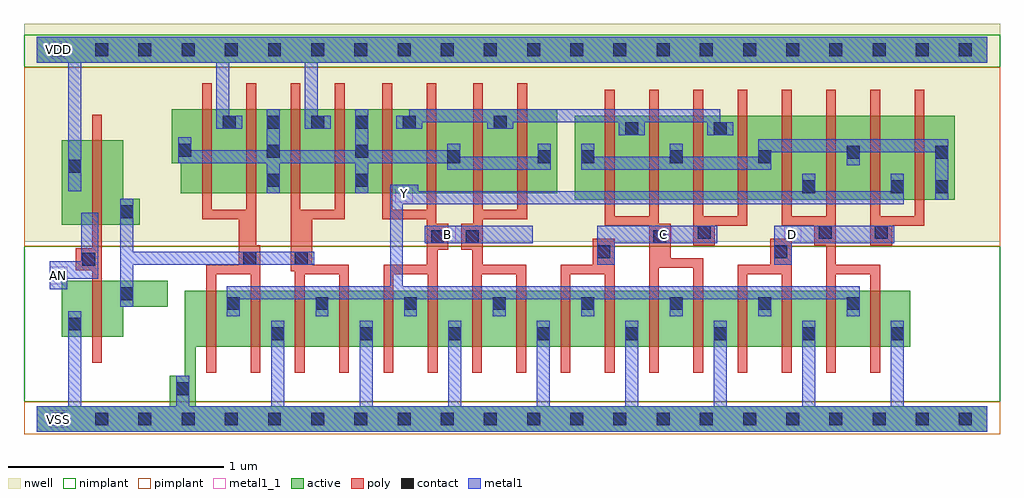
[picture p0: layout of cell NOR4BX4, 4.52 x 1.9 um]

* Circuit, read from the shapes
.subckt NOR4BX4 AN B C D VDD VSS Y
M1 n1 AN VSS VSS nfet w=0.26u l=0.045u
M2 Y n1 VSS VSS nfet w=0.26u l=0.045u m=4
M3 Y B VSS VSS nfet w=0.26u l=0.045u m=4
M4 Y C VSS VSS nfet w=0.26u l=0.045u m=4
M5 Y D VSS VSS nfet w=0.26u l=0.045u m=4
M6 n1 AN VDD VDD pfet w=0.39u l=0.045u
M7 VDD n1 n2 VDD pfet w=0.39u l=0.045u m=4
M8 n3 B n2 VDD pfet w=0.39u l=0.045u m=4
M9 n3 C n4 VDD pfet w=0.39u l=0.045u m=4
M10 Y D n4 VDD pfet w=0.39u l=0.045u m=4
.ends

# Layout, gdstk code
import gdstk
lib = gdstk.Library(unit=1e-6, precision=5e-10)
def R(c, l, rs):  # rectangles x0, y0, x1, y1
    for r in rs: c.add(gdstk.rectangle(r[:2], r[2:], *l))
def A(c, l, x, y, w, h, nx, ny, dx, dy):  # array of equal rectangles
    R(c, l, [(x+i*dx, y+j*dy, x+i*dx+w, y+j*dy+h) for i in range(nx) for j in range(ny)])
def P(c, l, *ps):  # polygons
    for p in ps: c.add(gdstk.Polygon(p, *l))
active = (1, 0)
nwell = (2, 0)
poly = (3, 0)
nimplant = (4, 0)
pimplant = (5, 0)
contact = (6, 0)
metal1 = (7, 0)
metal1_1 = (7, 1)

nor4bx4 = lib.new_cell('NOR4BX4')
R(nor4bx4, active, [(2.49,1.015,4.25,1.405), (0,1.65,4.4,1.77)])
P(nor4bx4, active, [(0.625,1.435),(2.41,1.435),(2.41,1.045),(0.665,1.045),(0.665,1.185),(0.625,1.185)],
  [(0.115,1.29),(0.4,1.29),(0.4,1.02),(0.475,1.02),(0.475,0.9),(0.115,0.9)],
  [(0.115,0.64),(0.605,0.64),(0.605,0.52),(0.4,0.52),(0.4,0.38),(0.115,0.38)],
  [(0.685,0.595),(4.045,0.595),(4.045,0.335),(0.735,0.335),(0.735,0.06),(4.4,0.06),(4.4,-0.06),(0,-0.06),(0,0.06),(0.615,0.06),(0.615,0.2),(0.685,0.2)])
R(nor4bx4, nwell, [(-0.06,0.82,4.46,1.83)])
P(nor4bx4, poly, [(0.765,1.555),(0.81,1.555),(0.81,0.97),(0.97,0.97),(0.97,1.555),(1.015,1.555),(1.015,0.805),(1.035,0.805),(1.035,0.215),(0.99,0.215),(0.99,0.67),(0.83,0.67),(0.83,0.215),(0.785,0.215),(0.785,0.715),(0.935,0.715),(0.935,0.925),(0.765,0.925)],
  [(1.175,1.555),(1.22,1.555),(1.22,0.97),(1.38,0.97),(1.38,1.555),(1.425,1.555),(1.425,0.925),(1.275,0.925),(1.275,0.715),(1.445,0.715),(1.445,0.215),(1.4,0.215),(1.4,0.67),(1.24,0.67),(1.24,0.215),(1.195,0.215),(1.195,0.685),(1.175,0.685)],
  [(1.6,1.555),(1.645,1.555),(1.645,0.97),(1.805,0.97),(1.805,1.555),(1.85,1.555),(1.85,0.905),(1.905,0.905),(1.905,0.785),(1.855,0.785),(1.855,0.215),(1.81,0.215),(1.81,0.67),(1.65,0.67),(1.65,0.215),(1.605,0.215),(1.605,0.715),(1.805,0.715),(1.805,0.925),(1.6,0.925)],
  [(2.02,1.555),(2.065,1.555),(2.065,0.97),(2.225,0.97),(2.225,1.555),(2.27,1.555),(2.27,0.925),(2.065,0.925),(2.065,0.715),(2.265,0.715),(2.265,0.215),(2.22,0.215),(2.22,0.67),(2.06,0.67),(2.06,0.215),(2.015,0.215),(2.015,0.785),(1.965,0.785),(1.965,0.905),(2.02,0.905)],
  [(2.63,1.525),(2.675,1.525),(2.675,0.94),(2.835,0.94),(2.835,1.525),(2.88,1.525),(2.88,0.905),(2.935,0.905),(2.935,0.745),(3.085,0.745),(3.085,0.215),(3.04,0.215),(3.04,0.7),(2.88,0.7),(2.88,0.215),(2.835,0.215),(2.835,0.895),(2.63,0.895)],
  [(3.04,1.525),(3.085,1.525),(3.085,0.94),(3.245,0.94),(3.245,1.525),(3.29,1.525),(3.29,0.895),(3.14,0.895),(3.14,0.805),(3.04,0.805)],
  [(3.45,1.525),(3.495,1.525),(3.495,0.94),(3.655,0.94),(3.655,1.525),(3.7,1.525),(3.7,0.715),(3.905,0.715),(3.905,0.215),(3.86,0.215),(3.86,0.67),(3.7,0.67),(3.7,0.215),(3.655,0.215),(3.655,0.805),(3.6,0.805),(3.6,0.895),(3.45,0.895)],
  [(3.86,1.525),(3.905,1.525),(3.905,0.94),(4.065,0.94),(4.065,1.525),(4.11,1.525),(4.11,0.895),(3.96,0.895),(3.96,0.805),(3.86,0.805)],
  [(0.255,1.41),(0.3,1.41),(0.3,0.26),(0.255,0.26),(0.255,0.69),(0.18,0.69),(0.18,0.79),(0.255,0.79)],
  [(2.575,0.835),(2.675,0.835),(2.675,0.215),(2.63,0.215),(2.63,0.67),(2.47,0.67),(2.47,0.215),(2.425,0.215),(2.425,0.715),(2.575,0.715)],
  [(3.395,0.835),(3.495,0.835),(3.495,0.215),(3.45,0.215),(3.45,0.67),(3.29,0.67),(3.29,0.215),(3.245,0.215),(3.245,0.715),(3.395,0.715)])
R(nor4bx4, nimplant, [(-0.06,0.08,4.46,0.8), (-0.06,1.63,4.46,1.78)])
R(nor4bx4, pimplant, [(-0.06,-0.07,4.46,0.08), (-0.06,0.8,4.46,1.63)])
A(nor4bx4, contact, 0.07, -0.03, 0.06, 0.06, 22, 2, 0.2, 1.71)
A(nor4bx4, contact, 1.085, 0.365, 0.06, 0.06, 8, 1, 0.41, 0)
A(nor4bx4, contact, 0.88, 0.505, 0.06, 0.06, 8, 1, 0.41, 0)
A(nor4bx4, contact, 2.52, 1.185, 0.06, 0.06, 3, 1, 0.41, 0)
A(nor4bx4, contact, 0.86, 1.345, 0.06, 0.06, 4, 1, 0.205, 0)
R(nor4bx4, contact, [(0.645,0.11,0.705,0.17), (0.145,0.41,0.205,0.47), (0.385,0.55,0.445,0.61), (0.21,0.71,0.27,0.77), (0.955,0.715,1.015,0.775), (1.195,0.715,1.255,0.775), (2.595,0.745,2.655,0.805), (3.415,0.745,3.475,0.805), (1.825,0.815,1.885,0.875), (1.985,0.815,2.045,0.875), (2.855,0.815,2.915,0.875), (3.06,0.835,3.12,0.895), (3.62,0.835,3.68,0.895), (3.88,0.835,3.94,0.895), (0.385,0.93,0.445,0.99), (3.545,1.045,3.605,1.105), (3.955,1.045,4.015,1.105), (4.16,1.045,4.22,1.105), (1.065,1.075,1.125,1.135), (1.475,1.075,1.535,1.135), (0.145,1.14,0.205,1.2), (1.9,1.185,1.96,1.245), (2.32,1.185,2.38,1.245), (3.75,1.205,3.81,1.265), (4.16,1.205,4.22,1.265), (1.065,1.21,1.125,1.27), (1.475,1.21,1.535,1.27), (0.655,1.215,0.715,1.275), (2.725,1.315,2.785,1.375), (3.135,1.315,3.195,1.375), (1.695,1.345,1.755,1.405), (2.115,1.345,2.175,1.405)])
R(nor4bx4, metal1, [(1.795,0.815,2.295,0.895)])
P(nor4bx4, metal1, [(0,1.77),(4.4,1.77),(4.4,1.65),(1.3,1.65),(1.3,1.405),(1.36,1.405),(1.36,1.345),(1.24,1.345),(1.24,1.65),(0.89,1.65),(0.89,1.405),(0.95,1.405),(0.95,1.345),(0.83,1.345),(0.83,1.65),(0.205,1.65),(0.205,1.055),(0.145,1.055),(0.145,1.65),(0,1.65)],
  [(0.655,1.305),(0.715,1.305),(0.715,1.245),(1.065,1.245),(1.065,1.435),(1.125,1.435),(1.125,1.245),(1.475,1.245),(1.475,1.435),(1.535,1.435),(1.535,1.245),(1.9,1.245),(1.9,1.275),(1.96,1.275),(1.96,1.215),(2.32,1.215),(2.32,1.275),(2.38,1.275),(2.38,1.155),(1.9,1.155),(1.9,1.185),(1.535,1.185),(1.535,1.045),(1.475,1.045),(1.475,1.185),(1.125,1.185),(1.125,1.045),(1.065,1.045),(1.065,1.185),(0.655,1.185)],
  [(0.385,1.02),(0.445,1.02),(0.445,0.775),(1.285,0.775),(1.285,0.715),(0.445,0.715),(0.445,0.52),(0.385,0.52)],
  [(1.725,1.435),(3.165,1.435),(3.165,1.375),(3.225,1.375),(3.225,1.315),(3.105,1.315),(3.105,1.375),(2.815,1.375),(2.815,1.315),(2.695,1.315),(2.695,1.375),(2.205,1.375),(2.205,1.345),(2.085,1.345),(2.085,1.375),(1.785,1.375),(1.785,1.345),(1.665,1.345),(1.665,1.405),(1.725,1.405)],
  [(2.52,1.275),(2.58,1.275),(2.58,1.215),(2.93,1.215),(2.93,1.275),(2.99,1.275),(2.99,1.215),(3.34,1.215),(3.34,1.295),(4.22,1.295),(4.22,1.015),(4.16,1.015),(4.16,1.235),(3.81,1.235),(3.81,1.175),(3.75,1.175),(3.75,1.235),(3.4,1.235),(3.4,1.155),(2.52,1.155)],
  [(1.635,1.085),(1.765,1.085),(1.765,1.055),(3.545,1.055),(3.545,1.135),(3.605,1.135),(3.605,1.055),(3.955,1.055),(3.955,1.135),(4.015,1.135),(4.015,0.995),(1.695,0.995),(1.695,0.615),(3.81,0.615),(3.81,0.475),(3.75,0.475),(3.75,0.555),(3.4,0.555),(3.4,0.475),(3.34,0.475),(3.34,0.555),(2.99,0.555),(2.99,0.475),(2.93,0.475),(2.93,0.555),(2.58,0.555),(2.58,0.475),(2.52,0.475),(2.52,0.555),(2.17,0.555),(2.17,0.475),(2.11,0.475),(2.11,0.555),(1.76,0.555),(1.76,0.475),(1.7,0.475),(1.7,0.555),(1.35,0.555),(1.35,0.475),(1.29,0.475),(1.29,0.555),(0.94,0.555),(0.94,0.475),(0.88,0.475),(0.88,0.615),(1.635,0.615)],
  [(0.205,0.955),(0.285,0.955),(0.285,0.65),(0.14,0.65),(0.14,0.6),(0.06,0.6),(0.06,0.73),(0.205,0.73)],
  [(2.595,0.895),(3.15,0.895),(3.15,0.815),(2.675,0.815),(2.675,0.715),(2.595,0.715)],
  [(3.415,0.895),(3.97,0.895),(3.97,0.815),(3.495,0.815),(3.495,0.715),(3.415,0.715)],
  [(0.145,0.5),(0.205,0.5),(0.205,0.06),(0.645,0.06),(0.645,0.2),(0.705,0.2),(0.705,0.06),(1.085,0.06),(1.085,0.455),(1.145,0.455),(1.145,0.06),(1.495,0.06),(1.495,0.455),(1.555,0.455),(1.555,0.06),(1.905,0.06),(1.905,0.455),(1.965,0.455),(1.965,0.06),(2.315,0.06),(2.315,0.455),(2.375,0.455),(2.375,0.06),(2.725,0.06),(2.725,0.455),(2.785,0.455),(2.785,0.06),(3.135,0.06),(3.135,0.455),(3.195,0.455),(3.195,0.06),(3.545,0.06),(3.545,0.455),(3.605,0.455),(3.605,0.06),(3.955,0.06),(3.955,0.455),(4.015,0.455),(4.015,0.06),(4.4,0.06),(4.4,-0.06),(0,-0.06),(0,0.06),(0.145,0.06)])
R(nor4bx4, metal1_1, [(0.06,-0.04,0.14,0.04), (0.06,0.625,0.14,0.705), (1.86,0.815,1.94,0.895), (2.86,0.815,2.94,0.895), (3.46,0.815,3.54,0.895), (1.66,1.005,1.74,1.085), (0.06,1.67,0.14,1.75)])
nor4bx4.add(gdstk.Label('Y', (1.7,1.045), layer=7, texttype=1))
nor4bx4.add(gdstk.Label('AN', (0.1,0.665), layer=7, texttype=1))
nor4bx4.add(gdstk.Label('B', (1.9,0.855), layer=7, texttype=1))
nor4bx4.add(gdstk.Label('C', (2.9,0.855), layer=7, texttype=1))
nor4bx4.add(gdstk.Label('D', (3.5,0.855), layer=7, texttype=1))
nor4bx4.add(gdstk.Label('VDD', (0.1,1.71), layer=7, texttype=1))
nor4bx4.add(gdstk.Label('VSS', (0.1,0), layer=7, texttype=1))
nor4bx4.add(gdstk.Label('NOR4BX4', (0,0), layer=63, texttype=0))

lib.write_gds('NOR4BX4.gds')
